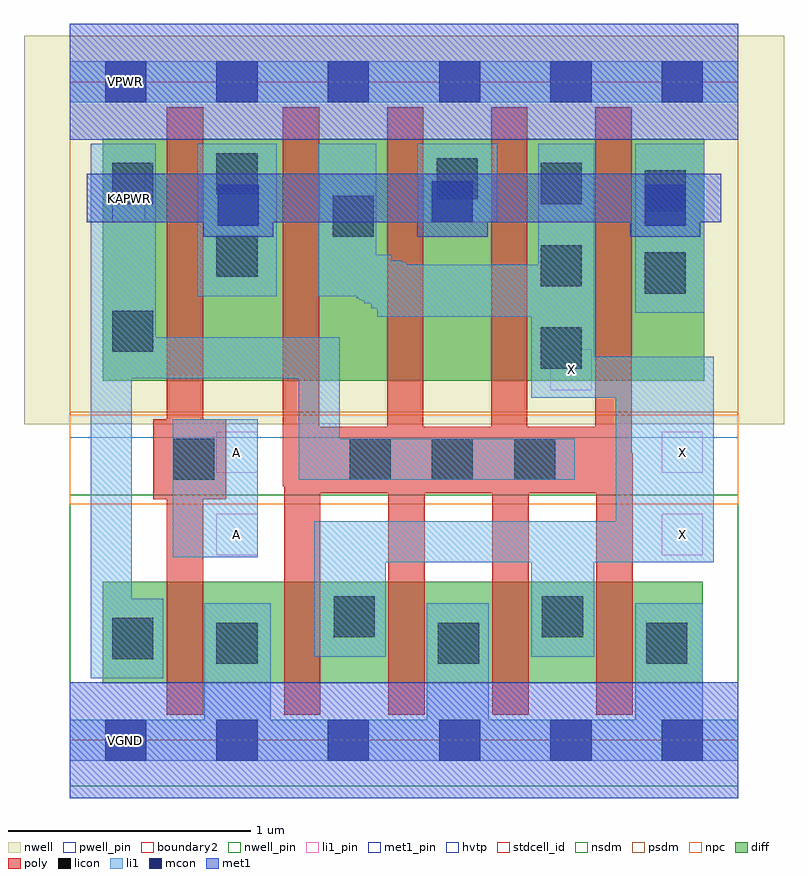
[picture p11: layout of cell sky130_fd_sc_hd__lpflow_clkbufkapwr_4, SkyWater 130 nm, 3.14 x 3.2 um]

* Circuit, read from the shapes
.subckt sky130_fd_sc_hd__lpflow_clkbufkapwr_4 A KAPWR VGND VNB VPB VPWR X
XM1 VGND A n1 VNB sky130_fd_pr__nfet_01v8 w=0.42 l=0.15
XM2 X n1 VGND VNB sky130_fd_pr__nfet_01v8 w=0.42 l=0.15 m=4
XM3 KAPWR A n1 VPB sky130_fd_pr__pfet_01v8_hvt w=1 l=0.15
XM4 X n1 KAPWR VPB sky130_fd_pr__pfet_01v8_hvt w=1 l=0.15 m=4
.ends

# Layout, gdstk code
import gdstk
lib = gdstk.Library(unit=1e-6, precision=1e-09)
def R(c, l, rs):  # rectangles x0, y0, x1, y1
    for r in rs: c.add(gdstk.rectangle(r[:2], r[2:], *l))
def A(c, l, x, y, w, h, nx, ny, dx, dy):  # array of equal rectangles
    R(c, l, [(x+i*dx, y+j*dy, x+i*dx+w, y+j*dy+h) for i in range(nx) for j in range(ny)])
def P(c, l, *ps):  # polygons
    for p in ps: c.add(gdstk.Polygon(p, *l))
nwell_pin = (64, 16)
nwell = (64, 20)
diff = (65, 20)
poly = (66, 20)
licon = (66, 44)
li1_pin = (67, 16)
li1 = (67, 20)
mcon = (67, 44)
met1_pin = (68, 16)
met1 = (68, 20)
hvtp = (78, 44)
stdcell_id = (81, 4)
nsdm = (93, 44)
psdm = (94, 20)
npc = (95, 20)
pwell_pin = (122, 16)
boundary2 = (236, 0)

sky130_fd_sc_hd__lpflow_ = lib.new_cell('sky130_fd_sc_hd__lpflow_clkbufkapwr_4')
R(sky130_fd_sc_hd__lpflow_, nwell_pin, [(0.145,2.635,0.315,2.805)])
R(sky130_fd_sc_hd__lpflow_, nwell, [(-0.19,1.305,2.95,2.91)])
R(sky130_fd_sc_hd__lpflow_, diff, [(0.135,0.235,2.615,0.655), (0.135,1.485,2.62,2.485)])
P(sky130_fd_sc_hd__lpflow_, poly, [(2.325,1.185),(2.32,1.185),(2.32,2.615),(2.17,2.615),(2.17,1.295),(1.89,1.295),(1.89,2.615),(1.74,2.615),(1.74,1.295),(1.46,1.295),(1.46,2.615),(1.31,2.615),(1.31,1.295),(1.03,1.295),(1.03,2.615),(0.88,2.615),(0.88,1.05),(0.885,1.05),(0.885,0.105),(1.035,0.105),(1.035,1.02),(1.315,1.02),(1.315,0.105),(1.465,0.105),(1.465,1.02),(1.745,1.02),(1.745,0.105),(1.895,0.105),(1.895,1.02),(2.175,1.02),(2.175,0.105),(2.325,0.105)],
  [(0.645,1.325),(0.55,1.325),(0.55,2.615),(0.4,2.615),(0.4,1.325),(0.345,1.325),(0.345,0.995),(0.4,0.995),(0.4,0.105),(0.55,0.105),(0.55,0.995),(0.645,0.995)])
A(sky130_fd_sc_hd__lpflow_, licon, 1.155, 1.075, 0.17, 0.17, 3, 1, 0.34, 0)
A(sky130_fd_sc_hd__lpflow_, licon, 1.945, 1.535, 0.17, 0.17, 1, 3, 0, 0.34)
R(sky130_fd_sc_hd__lpflow_, licon, [(0.605,0.315,0.775,0.485), (1.52,0.315,1.69,0.485), (2.38,0.315,2.55,0.485), (0.175,0.335,0.345,0.505), (1.09,0.425,1.26,0.595), (1.95,0.425,2.12,0.595), (0.425,1.075,0.595,1.245), (0.175,1.605,0.345,1.775), (2.375,1.845,2.545,2.015), (0.605,1.915,0.775,2.085), (1.085,2.08,1.255,2.25), (2.375,2.185,2.545,2.355), (0.175,2.215,0.345,2.385), (1.515,2.235,1.685,2.405), (0.605,2.255,0.775,2.425)])
R(sky130_fd_sc_hd__lpflow_, li1_pin, [(0.605,0.765,0.775,0.935), (2.445,0.765,2.615,0.935), (0.605,1.105,0.775,1.275), (2.445,1.105,2.615,1.275), (1.985,1.445,2.155,1.615)])
R(sky130_fd_sc_hd__lpflow_, li1, [(0.425,0.755,0.775,1.325), (2.335,1.765,2.62,2.465), (0.525,1.835,0.855,2.465), (1.435,2.14,1.765,2.465), (0,2.635,2.76,2.805)])
P(sky130_fd_sc_hd__lpflow_, li1, [(2.085,1.245),(1.115,1.245),(1.115,1.665),(0.355,1.665),(0.355,2.465),(0.085,2.465),(0.085,0.255),(0.385,0.255),(0.385,0.585),(0.255,0.585),(0.255,1.495),(0.945,1.495),(0.945,1.075),(2.085,1.075)],
  [(2.66,1.585),(2.165,1.585),(2.165,2.465),(1.935,2.465),(1.935,1.965),(1.39,1.965),(1.39,1.97),(1.385,1.97),(1.385,1.975),(1.37,1.975),(1.37,1.98),(1.33,1.98),(1.33,2),(1.325,2),(1.325,2.005),(1.265,2.005),(1.265,2.465),(1.025,2.465),(1.025,1.835),(1.185,1.835),(1.185,1.825),(1.195,1.825),(1.195,1.82),(1.205,1.82),(1.205,1.815),(1.215,1.815),(1.215,1.805),(1.245,1.805),(1.245,1.785),(1.27,1.785),(1.27,1.75),(1.905,1.75),(1.905,1.415),(2.255,1.415),(2.255,0.905),(1.01,0.905),(1.01,0.345),(1.305,0.345),(1.305,0.735),(1.905,0.735),(1.905,0.345),(2.165,0.345),(2.165,0.735),(2.66,0.735)],
  [(2.76,0.085),(2.615,0.085),(2.615,0.565),(2.335,0.565),(2.335,0.085),(1.73,0.085),(1.73,0.565),(1.475,0.565),(1.475,0.085),(0.83,0.085),(0.83,0.565),(0.555,0.565),(0.555,0.085),(0,0.085),(0,-0.085),(2.76,-0.085)])
A(sky130_fd_sc_hd__lpflow_, mcon, 0.145, -0.085, 0.17, 0.17, 6, 2, 0.46, 2.72)
R(sky130_fd_sc_hd__lpflow_, mcon, [(0.61,2.125,0.78,2.295), (2.375,2.125,2.545,2.295), (1.495,2.14,1.665,2.31)])
R(sky130_fd_sc_hd__lpflow_, met1_pin, [(0.145,-0.085,0.315,0.085), (0.175,2.14,0.31,2.34), (0.145,2.635,0.315,2.805)])
P(sky130_fd_sc_hd__lpflow_, met1, [(2.69,2.34),(0.07,2.34),(0.07,2.14),(0.55,2.14),(0.55,2.08),(0.84,2.08),(0.84,2.14),(1.435,2.14),(1.435,2.08),(1.725,2.08),(1.725,2.14),(2.315,2.14),(2.315,2.08),(2.605,2.08),(2.605,2.14),(2.69,2.14)])
R(sky130_fd_sc_hd__lpflow_, hvtp, [(0,1.25,2.76,2.72)])
R(sky130_fd_sc_hd__lpflow_, stdcell_id, [(0,0,2.76,2.72)])
R(sky130_fd_sc_hd__lpflow_, nsdm, [(0,-0.19,2.76,1.015)])
R(sky130_fd_sc_hd__lpflow_, psdm, [(0,1.355,2.76,2.91)])
R(sky130_fd_sc_hd__lpflow_, npc, [(0,0.975,2.76,1.345)])
R(sky130_fd_sc_hd__lpflow_, pwell_pin, [(0.145,-0.085,0.315,0.085)])
R(sky130_fd_sc_hd__lpflow_, boundary2, [(0,0,2.76,2.72)])
sky130_fd_sc_hd__lpflow_.add(gdstk.FlexPath([(0,0),(2.76,0)], 0.48, ends="flush", simple_path=True, layer=68, datatype=20))  # met1
sky130_fd_sc_hd__lpflow_.add(gdstk.FlexPath([(0,2.72),(2.76,2.72)], 0.48, ends="flush", simple_path=True, layer=68, datatype=20))  # met1
sky130_fd_sc_hd__lpflow_.add(gdstk.Label('X', (2.07,1.53), layer=67, texttype=5))
sky130_fd_sc_hd__lpflow_.add(gdstk.Label('A', (0.69,0.85), layer=67, texttype=5))
sky130_fd_sc_hd__lpflow_.add(gdstk.Label('X', (2.53,0.85), layer=67, texttype=5))
sky130_fd_sc_hd__lpflow_.add(gdstk.Label('A', (0.69,1.19), layer=67, texttype=5))
sky130_fd_sc_hd__lpflow_.add(gdstk.Label('X', (2.53,1.19), layer=67, texttype=5))
sky130_fd_sc_hd__lpflow_.add(gdstk.Label('KAPWR', (0.245,2.24), layer=68, texttype=5))
sky130_fd_sc_hd__lpflow_.add(gdstk.Label('VGND', (0.23,0), layer=68, texttype=5))
sky130_fd_sc_hd__lpflow_.add(gdstk.Label('VPWR', (0.23,2.72), layer=68, texttype=5))
sky130_fd_sc_hd__lpflow_.add(gdstk.Label('VPB', (0.23,2.72), layer=64, texttype=5))
sky130_fd_sc_hd__lpflow_.add(gdstk.Label('VNB', (0.23,0), layer=64, texttype=59))
sky130_fd_sc_hd__lpflow_.add(gdstk.Label('lpflow_clkbufkapwr_4', (0,0), layer=83, texttype=44))

lib.write_gds('sky130_fd_sc_hd__lpflow_clkbufkapwr_4.gds')
